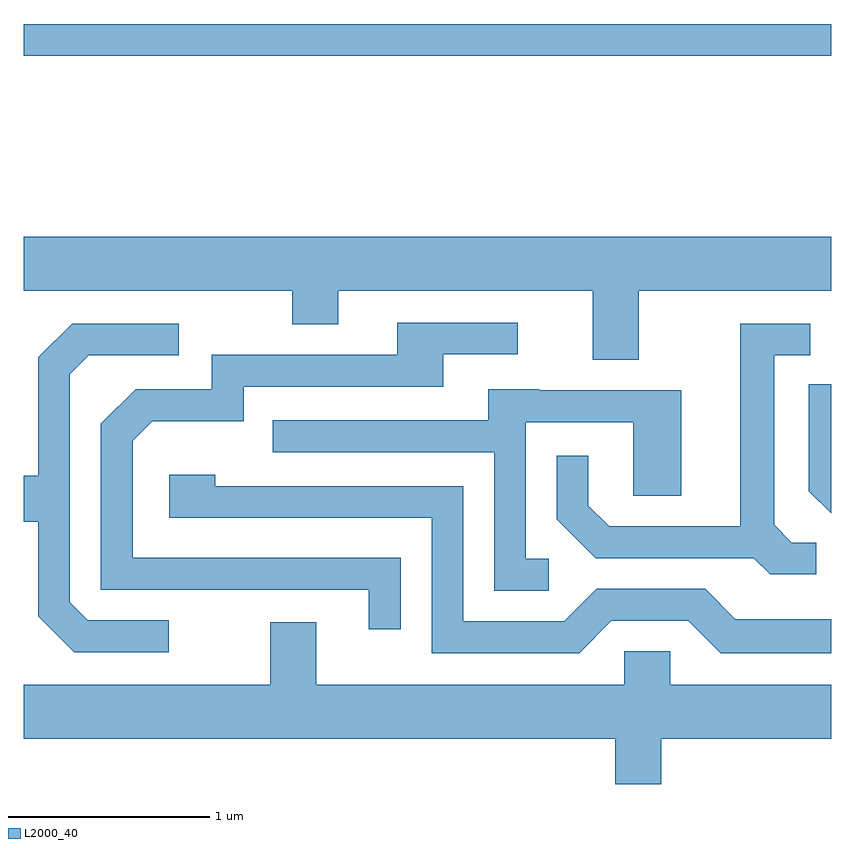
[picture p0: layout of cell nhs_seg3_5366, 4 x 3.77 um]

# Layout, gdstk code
import gdstk
lib = gdstk.Library(unit=1e-6, precision=1e-09)
def R(c, l, rs):  # rectangles x0, y0, x1, y1
    for r in rs: c.add(gdstk.rectangle(r[:2], r[2:], *l))
def P(c, l, *ps):  # polygons
    for p in ps: c.add(gdstk.Polygon(p, *l))
L2000_40 = (2000, 40)

nhs_seg3_5366 = lib.new_cell('nhs_seg3_5366')
R(nhs_seg3_5366, L2000_40, [(341.611,1251.501,345.611,1251.659)])
P(nhs_seg3_5366, L2000_40, [(344.659,1250.336),(345.611,1250.336),(345.611,1250.604),(341.611,1250.604),(341.611,1250.336),(342.941,1250.336),(342.941,1250.171),(343.169,1250.171),(343.169,1250.336),(344.431,1250.336),(344.431,1249.996),(344.659,1249.996)],
  [(343.479,1249.014),(342.149,1249.014),(342.149,1249.594),(342.247,1249.691),(342.699,1249.691),(342.699,1249.861),(343.689,1249.861),(343.689,1250.021),(344.058,1250.021),(344.058,1250.179),(343.461,1250.179),(343.461,1250.019),(342.541,1250.019),(342.541,1249.849),(342.164,1249.849),(341.991,1249.677),(341.991,1248.856),(343.321,1248.856),(343.321,1248.658),(343.479,1248.658)],
  [(345.538,1249.089),(345.417,1249.089),(345.329,1249.177),(345.329,1250.016),(345.508,1250.016),(345.508,1250.174),(345.161,1250.174),(345.161,1249.169),(344.512,1249.169),(344.409,1249.272),(344.409,1249.518),(344.251,1249.518),(344.251,1249.204),(344.444,1249.011),(345.229,1249.011),(345.309,1248.931),(345.538,1248.931)],
  [(342.328,1248.704),(341.927,1248.704),(341.839,1248.792),(341.839,1249.924),(341.932,1250.016),(342.378,1250.016),(342.378,1250.174),(341.849,1250.174),(341.681,1250.007),(341.681,1249.419),(341.611,1249.419),(341.611,1249.191),(341.681,1249.191),(341.681,1248.724),(341.859,1248.546),(342.328,1248.546)],
  [(345.611,1249.873),(345.501,1249.873),(345.501,1249.344),(345.611,1249.234)],
  [(344.213,1249.009),(344.099,1249.009),(344.099,1249.686),(344.631,1249.686),(344.631,1249.321),(344.869,1249.321),(344.869,1249.844),(344.165,1249.844),(344.165,1249.849),(343.911,1249.849),(343.911,1249.694),(342.843,1249.694),(342.843,1249.536),(343.941,1249.536),(343.941,1248.851),(344.213,1248.851)],
  [(344.522,1248.701),(344.904,1248.701),(345.064,1248.541),(345.611,1248.541),(345.611,1248.709),(345.137,1248.709),(344.987,1248.859),(344.449,1248.859),(344.289,1248.699),(343.789,1248.699),(343.789,1249.369),(342.559,1249.369),(342.559,1249.424),(342.331,1249.424),(342.331,1249.211),(343.631,1249.211),(343.631,1248.541),(344.362,1248.541)],
  [(344.769,1248.116),(345.611,1248.116),(345.611,1248.384),(344.814,1248.384),(344.814,1248.549),(344.586,1248.549),(344.586,1248.384),(343.059,1248.384),(343.059,1248.694),(342.831,1248.694),(342.831,1248.384),(341.611,1248.384),(341.611,1248.116),(344.541,1248.116),(344.541,1247.892),(344.769,1247.892)])

lib.write_gds('nhs_seg3_5366.gds')
